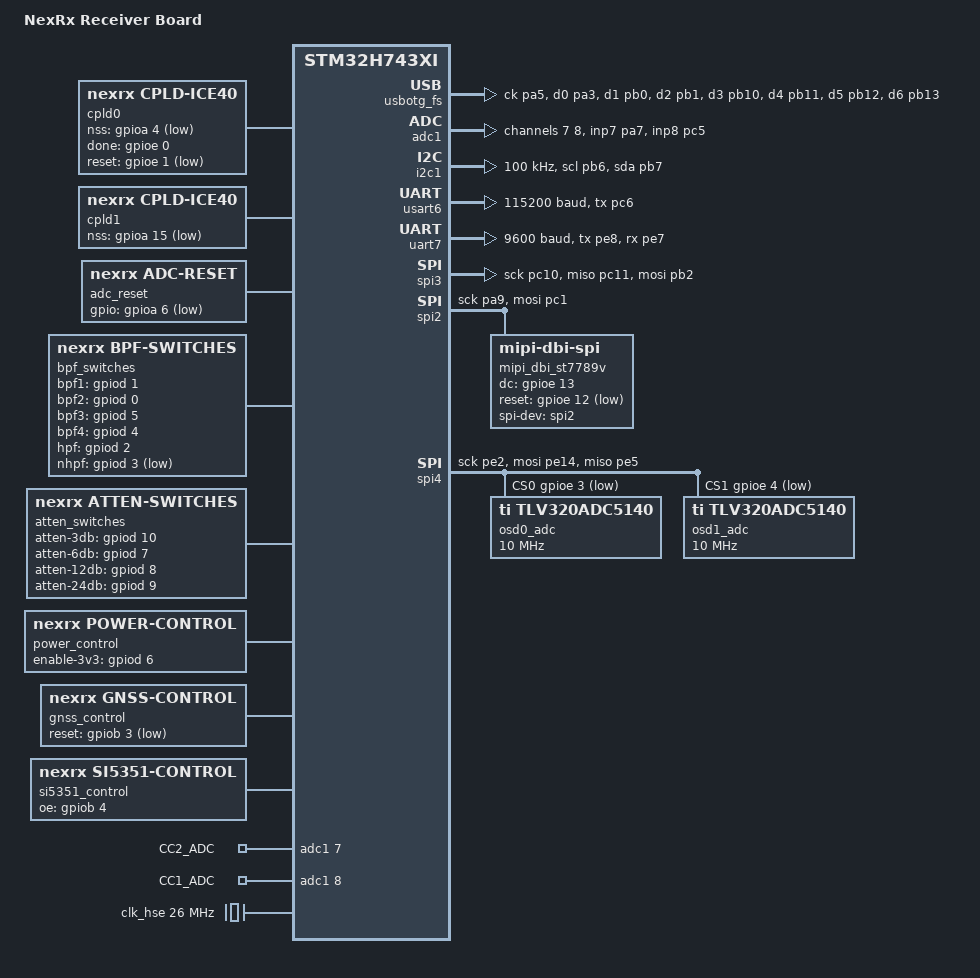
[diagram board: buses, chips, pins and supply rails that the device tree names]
/dts-v1/;
#include <st/h7/stm32h743Xi.dtsi>
#include <st/h7/stm32h743vitx-pinctrl.dtsi>
#include <zephyr/dt-bindings/mipi_dbi/mipi_dbi.h>

/ {
	model = "NexRx Receiver Board";
	compatible = "nexrx,nexrx-rx";

	chosen {
		zephyr,sram = &sram0;
		zephyr,flash = &flash0;
		zephyr,dtcm = &dtcm;
		zephyr,console = &usart6;
		zephyr,shell-uart = &usart6;
		zephyr,display = &st7789v;
		zephyr,udc0 = &usbotg_fs;
	};

	cpld0: cpld0 {
		compatible = "nexrx,cpld-ice40";
		nss-gpios = <&gpioa 4 GPIO_ACTIVE_LOW>;
		done-gpios = <&gpioe 0 GPIO_ACTIVE_HIGH>;
		reset-gpios = <&gpioe 1 GPIO_ACTIVE_LOW>;
		status = "okay";
	};

	cpld1: cpld1 {
		compatible = "nexrx,cpld-ice40";
		nss-gpios = <&gpioa 15 GPIO_ACTIVE_LOW>;
		status = "okay";
	};

	adc_reset: adc_reset {
		compatible = "nexrx,adc-reset";
		gpios = <&gpioa 6 GPIO_ACTIVE_LOW>;
		status = "okay";
	};

	bpf_switches: bpf_switches {
		compatible = "nexrx,bpf-switches";
		bpf1-gpios = <&gpiod 1 GPIO_ACTIVE_HIGH>;
		bpf2-gpios = <&gpiod 0 GPIO_ACTIVE_HIGH>;
		bpf3-gpios = <&gpiod 5 GPIO_ACTIVE_HIGH>;
		bpf4-gpios = <&gpiod 4 GPIO_ACTIVE_HIGH>;
		hpf-gpios = <&gpiod 2 GPIO_ACTIVE_HIGH>;
		nhpf-gpios = <&gpiod 3 GPIO_ACTIVE_LOW>;
		status = "okay";
	};

	atten_switches: atten_switches {
		compatible = "nexrx,atten-switches";
		atten-3db-gpios = <&gpiod 10 GPIO_ACTIVE_HIGH>;
		atten-6db-gpios = <&gpiod 7 GPIO_ACTIVE_HIGH>;
		atten-12db-gpios = <&gpiod 8 GPIO_ACTIVE_HIGH>;
		atten-24db-gpios = <&gpiod 9 GPIO_ACTIVE_HIGH>;
		status = "okay";
	};

	power_control: power_control {
		compatible = "nexrx,power-control";
		enable-3v3-gpios = <&gpiod 6 GPIO_ACTIVE_HIGH>;
		status = "okay";
	};

	status_leds: status_leds {
		compatible = "nexrx,status-leds";
		red-gpios = <&gpiob 9 GPIO_ACTIVE_LOW>;
		green-gpios = <&gpiob 8 GPIO_ACTIVE_LOW>;
		blue-gpios = <&gpioe 6 GPIO_ACTIVE_LOW>;
		status = "okay";
	};

	gnss_control: gnss_control {
		compatible = "nexrx,gnss-control";
		reset-gpios = <&gpiob 3 GPIO_ACTIVE_LOW>;
		status = "okay";
	};

	si5351_control: si5351_control {
		compatible = "nexrx,si5351-control";
		oe-gpios = <&gpiob 4 GPIO_ACTIVE_HIGH>;
		status = "okay";
	};

	zephyr,user {
		/* USB-C CC Monitor ADC Channels */
		io-channels = <&adc1 7>, <&adc1 8>;
		io-channel-names = "CC2_ADC", "CC1_ADC";
	};
};


&usbotg_fs {
	status = "okay";

	pinctrl-0 = <&usb_otg_hs_ulpi_ck_pa5 &usb_otg_hs_ulpi_d0_pa3
		     &usb_otg_hs_ulpi_d1_pb0 &usb_otg_hs_ulpi_d2_pb1
		     &usb_otg_hs_ulpi_d3_pb10 &usb_otg_hs_ulpi_d4_pb11
		     &usb_otg_hs_ulpi_d5_pb12 &usb_otg_hs_ulpi_d6_pb13
		     &usb_otg_hs_ulpi_d7_pb5 &usb_otg_hs_ulpi_dir_pc2_c
		     &usb_otg_hs_ulpi_nxt_pc3_c &usb_otg_hs_ulpi_stp_pc0>;
	pinctrl-names = "default";



	usb_device_0: usb_device_0 {
		compatible = "zephyr,usb-device";
		status = "okay";

		cdc_acm_uart0: cdc_acm_uart0 {
			compatible = "zephyr,cdc-acm-uart";
			label = "CDC_ACM_0";
		};

		cdc_acm_uart1: cdc_acm_uart1 {
			compatible = "zephyr,cdc-acm-uart";
			label = "CDC_ACM_1";
		};

		iq_data_pump: iq_data_pump {
			compatible = "zephyr,usb-vendor-bulk";
			status = "okay";
		};
	};
};

&adc1 {
	pinctrl-0 = <&adc1_inp7_pa7 &adc1_inp8_pc5>;
	pinctrl-names = "default";
	st,adc-clock-source = "SYNC";
	st,adc-prescaler = <4>;
	status = "okay";
	#address-cells = <1>;
	#size-cells = <0>;


	channel@7 {
		reg = <7>;
		zephyr,gain = "ADC_GAIN_1";
		zephyr,reference = "ADC_REF_INTERNAL";
		zephyr,acquisition-time = <ADC_ACQ_TIME_DEFAULT>;
		zephyr,resolution = <12>;
	};
	channel@8 {
		reg = <8>;
		zephyr,gain = "ADC_GAIN_1";
		zephyr,reference = "ADC_REF_INTERNAL";
		zephyr,acquisition-time = <ADC_ACQ_TIME_DEFAULT>;
		zephyr,resolution = <12>;
	};
};

&i2c1 {
	pinctrl-0 = <&i2c1_scl_pb6 &i2c1_sda_pb7>;
	pinctrl-names = "default";
	status = "okay";
	clock-frequency = <I2C_BITRATE_STANDARD>;
};

&clk_hse {
	clock-frequency = <DT_FREQ_M(26)>;
	status = "okay";
};

&pll {
	div-m = <13>;
	mul-n = <400>;
	div-p = <2>;
	div-q = <2>;
	div-r = <2>;
	clocks = <&clk_hse>;
	status = "okay";
};

&rcc {
	clocks = <&pll>;
	clock-frequency = <DT_FREQ_M(400)>;
	d1cpre = <1>;
	hpre = <2>;
	d1ppre = <2>;
	d2ppre2 = <2>;
	d2ppre1 = <2>;
	d3ppre = <2>;
};

&usart6 {
	pinctrl-0 = <&usart6_tx_pc6>;
	pinctrl-names = "default";
	current-speed = <115200>;
	status = "okay";
};

&uart7 {
	pinctrl-0 = <&uart7_tx_pe8 &uart7_rx_pe7>;
	pinctrl-names = "default";
	current-speed = <9600>;
	status = "okay";
};


&spi3 {
	pinctrl-0 = <&spi3_sck_pc10 &spi3_miso_pc11 &spi3_mosi_pb2>;
	pinctrl-names = "default";
	cs-gpios = <&gpioa 4 GPIO_ACTIVE_LOW>, <&gpioa 15 GPIO_ACTIVE_LOW>;
	status = "okay";
};

&spi2 {
	pinctrl-0 = <&spi2_sck_pa9 &spi2_mosi_pc1>;
	pinctrl-names = "default";
	cs-gpios = <&gpioa 11 GPIO_ACTIVE_LOW>;
	status = "okay";

	mipi_dbi_st7789v {
		compatible = "zephyr,mipi-dbi-spi";
		spi-dev = <&spi2>;
		dc-gpios = <&gpioe 13 GPIO_ACTIVE_HIGH>;
		reset-gpios = <&gpioe 12 GPIO_ACTIVE_LOW>;
		write-only;
		#address-cells = <1>;
		#size-cells = <0>;

		st7789v: st7789v@0 {
			compatible = "sitronix,st7789v";
			mipi-max-frequency = <32000000>;
			reg = <0>;
			width = <240>;
			height = <135>;
			x-offset = <0>;
			y-offset = <40>;
			vcom = <0x19>;
			gctrl = <0x35>;
			vrhs = <0x12>;
			vdvs = <0x20>;
			mdac = <0x00>;
			gamma = <0x01>;
			colmod = <0x05>;
			lcm = <0x2c>;
			porch-param = [0c 0c 00 33 33];
			cmd2en-param = [33 06 04];
			pwctrl1-param = [a4 a1];
			pvgam-param = [d0 04 0d 11 13 2b 3f 54 4c 18 0d 0b 1f 23];
			nvgam-param = [d0 04 0c 11 13 2c 3f 44 51 2f 1f 1f 20 23];
			ram-param = [00 f0];
			rgb-param = [cd 08 14];
			mipi-mode = "MIPI_DBI_MODE_SPI_4WIRE";
		};
	};
};

&spi4 {
	pinctrl-0 = <&spi4_sck_pe2 &spi4_mosi_pe14 &spi4_miso_pe5>;
	pinctrl-names = "default";
	cs-gpios = <&gpioe 3 GPIO_ACTIVE_LOW>, <&gpioe 4 GPIO_ACTIVE_LOW>;
	status = "okay";

	osd0_adc: tlv320adc5140@0 {
		compatible = "ti,tlv320adc5140";
		reg = <0>;
		spi-max-frequency = <10000000>;
	};

	osd1_adc: tlv320adc5140@1 {
		compatible = "ti,tlv320adc5140";
		reg = <1>;
		spi-max-frequency = <10000000>;
	};
};

&pwr {
	power-supply = "ldo";
};

